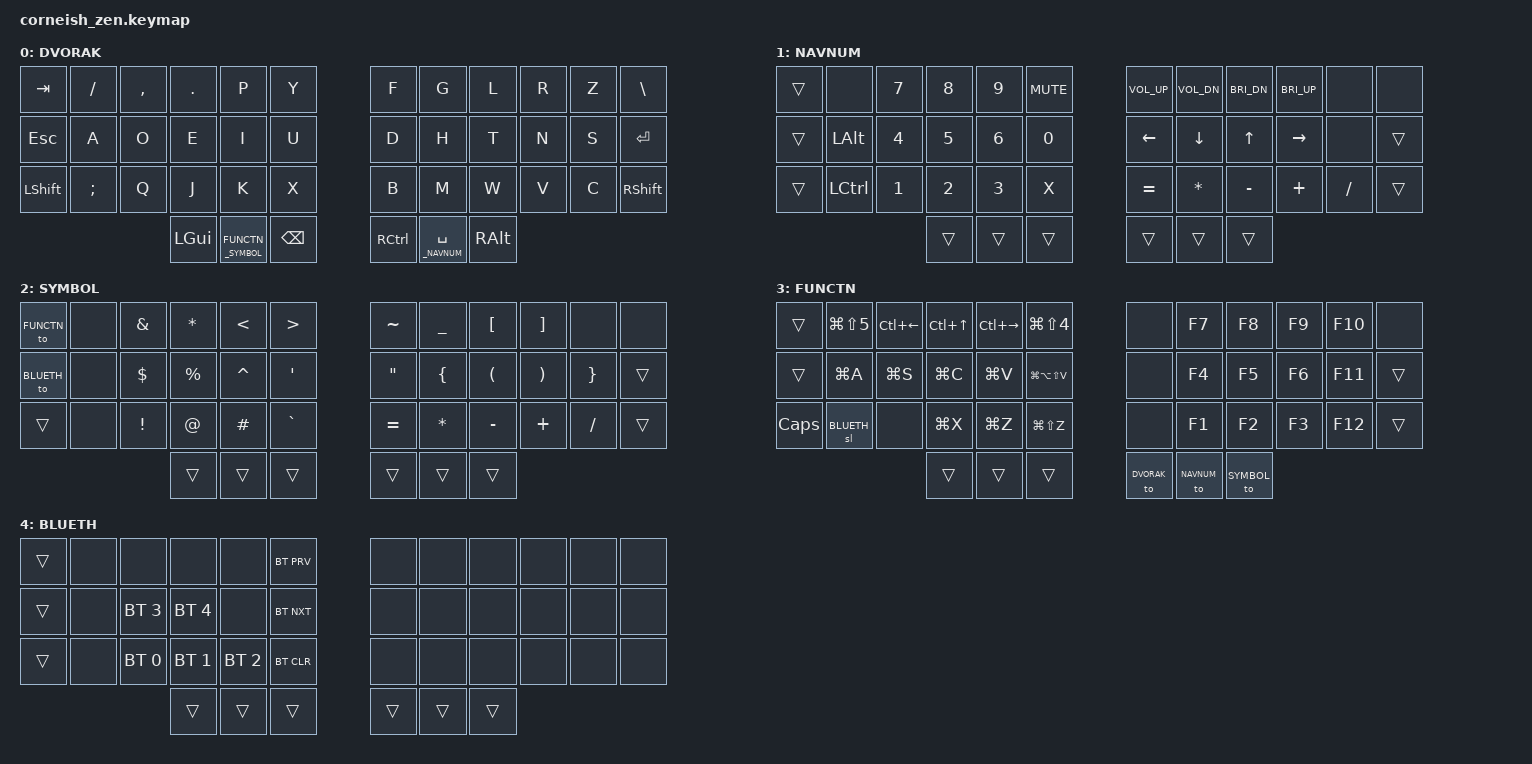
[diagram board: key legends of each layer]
/*
*
* Copyright (c) 2021 Darryl deHaan
* SPDX-License-Identifier: MIT
*
*/

#include <behaviors.dtsi>
#include <dt-bindings/zmk/keys.h>
#include <dt-bindings/zmk/bt.h>

/* layers: higher number means higher precedence */
#define _DVORAK 0
#define _NAVNUM 1
#define _SYMBOL 2
#define _FUNCTN 3
#define _BLUETH 4

/ {
    chosen {
        zmk,matrix_transform = &default_transform;
    };
};

/ {
        behaviors {
            mosl: momentary_sticky_holdtap {
                compatible = "zmk,behavior-hold-tap";
                label = "MOSLHT";
                #binding-cells = <2>;
                tapping-term-ms = <150>;
                quick-tap-ms = <0>;
                flavor = "hold-preferred";
                bindings = <&mo>, <&sl>;
            };
        };

        keymap {
                compatible = "zmk,keymap";

                default_layer {
                        label = "DVORAK";
// -----------------------------------------------------------------------------------------
// | TAB |  /  |  ,  |  .  |  P  |  Y  |   |  F  |  G  |  L  |  R  |  Z  | \   |
// | ESC |  A  |  O  |  E  |  I  |  U  |   |  D  |  H  |  T  |  N  |  S  | RET |
// | SHF |  ;  |  Q  |  J  |  K  |  X  |   |  B  |  M  |  W  |  V  |  C  | SHF |
//                   | GUI | MSL3| BSP |   | CTL | SPC | ALT |
                        bindings = <
    &kp TAB     &kp FSLH    &kp COMMA   &kp DOT     &kp P   &kp Y       &kp F   &kp G   &kp L   &kp R   &kp Z   &kp BSLH
    &kp ESC     &kp A       &kp O       &kp E       &kp I   &kp U       &kp D   &kp H   &kp T   &kp N   &kp S   &kp RET
    &kp LSHFT   &kp SEMI    &kp Q       &kp J       &kp K   &kp X       &kp B   &kp M   &kp W   &kp V   &kp C   &kp RSHFT
                                &kp LGUI    &mosl _SYMBOL _FUNCTN  &kp BSPC      &kp RCTL    &lt _NAVNUM SPACE   &kp RALT
                        >;
                };

                navnum_layer {
                        label = "NAVNUM";
// -----------------------------------------------------------------------------------------
// |     | --- |  7  |  8  |  9  | VLM |   | VLU | VLD | BRD | BRU | --- | --- |
// |     | ALT |  4  |  5  |  6  |  0  |   | LFT | DWN |  UP | RGT | --- |     |
// |     | CTL |  1  |  2  |  3  |  x  |   |  =  |  *  |  -  |  +  |  /  |     |
//                   |     |     |     |   |     |     |     |
                        bindings = <
   &trans   &none       &kp N7  &kp N8  &kp N9  &kp C_MUTE  &kp C_VOL_UP    &kp C_VOL_DN    &kp C_BRI_DN    &kp C_BRI_UP    &none       &none
   &trans   &kp LALT    &kp N4  &kp N5  &kp N6  &kp N0      &kp LEFT        &kp DOWN        &kp UP          &kp RIGHT       &none       &trans
   &trans   &kp LCTL    &kp N1  &kp N2  &kp N3  &kp X       &kp EQUAL       &kp ASTRK       &kp MINUS       &kp PLUS        &kp FSLH    &trans
                                &trans  &trans  &trans      &trans          &trans          &trans
                        >;
                };

                symbol_layer {
                        label = "SYMBOL";
// -----------------------------------------------------------------------------------------
// | TG3 | --- |  &  |  *  |  <  |  >  |   |  ~  |  _  |  [  |  ]  | --- | --- |
// | TG4 | --- |  $  |  %  |  ^  |  '  |   |  "  |  {  |  (  |  )  |  }  |     |
// |     | --- |  !  |  @  |  #  |  `  |   |  =  |  *  |  -  |  +  |  /  |     |
//                   |     |     |     |   |     |     |     |
                        bindings = <
   &to _FUNCTN  &none   &kp AMPS    &kp ASTRK   &kp LT      &kp GT      &kp TILDE   &kp UNDER   &kp LBKT    &kp RBKT    &none       &none
   &to _BLUETH  &none   &kp DLLR    &kp PRCNT   &kp CARET   &kp SQT     &kp DQT     &kp LBRC    &kp LPAR    &kp RPAR    &kp RBRC    &trans
   &trans       &none   &kp EXCL    &kp AT      &kp POUND   &kp GRAVE   &kp EQUAL   &kp ASTRK   &kp MINUS   &kp PLUS    &kp FSLH    &trans
                                &trans      &trans      &trans      &trans      &trans      &trans
                        >;
                };

                functn_layer {
                        label = "FUNCTN";
// -----------------------------------------------------------------------------------------
// |     |cmds5| ctl<| ctl^| ctl>|cmds4|   | --- | F7  | F8  | F9  | F10 | --- |
// |     | cmda| cmds| cmdc| cmdv|cmdv*|   | --- | F4  | F5  | F6  | F11 |     |
// | CLK | SL4 | --- | cmdx| cmdz| cmdZ|   | --- | F1  | F2  | F3  | F12 |     |
//                   |     |     |     |   | TO0 | TO1 | TO2 |
                        bindings = <
   &trans   &kp LG(LS(N5))  &kp LC(LEFT)    &kp LC(UP)  &kp LC(RIGHT)   &kp LG(LS(N4))      &none   &kp F7  &kp F8  &kp F9  &kp F10 &none
   &trans   &kp LG(A)       &kp LG(S)       &kp LG(C)   &kp LG(V)       &kp LG(LA(LS(V)))   &none   &kp F4  &kp F5  &kp F6  &kp F11 &trans
   &kp CAPS &sl _BLUETH     &none           &kp LG(X)   &kp LG(Z)       &kp LG(LS(Z))       &none   &kp F1  &kp F2  &kp F3  &kp F12 &trans
                                            &trans      &trans          &trans              &to _DVORAK &to _NAVNUM &to _SYMBOL
                        >;
                };

                blueth_layer {
                        label = "BLUETH";
// -----------------------------------------------------------------------------------------
// |     | --- | --- | --- | --- | BTP |   | --- | --- | --- | --- | --- | --- |
// |     | --- | BT3 | BT4 | --- | BTN |   | --- | --- | --- | --- | --- | --- |
// |     | --- | BT0 | BT1 | BT2 | BTC |   | --- | --- | --- | --- | --- | --- |
//                   |     |     |     |   |     |     |     |
                        bindings = <
   &trans   &none   &none           &none           &none           &bt BT_PRV  &none   &none   &none   &none   &none   &none
   &trans   &none   &bt BT_SEL 3    &bt BT_SEL 4    &none           &bt BT_NXT  &none   &none   &none   &none   &none   &none
   &trans   &none   &bt BT_SEL 0    &bt BT_SEL 1    &bt BT_SEL 2    &bt BT_CLR  &none   &none   &none   &none   &none   &none
                                    &trans          &trans          &trans      &trans  &trans  &trans
                        >;
                };
        };
};
